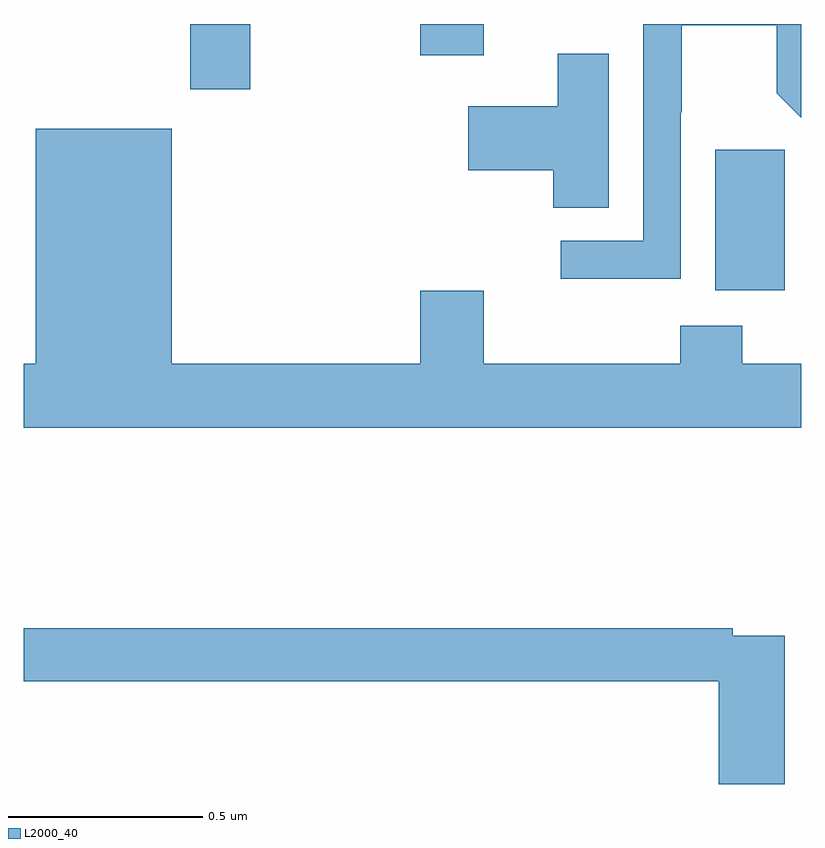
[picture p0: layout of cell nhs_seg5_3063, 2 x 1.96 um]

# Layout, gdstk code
import gdstk
lib = gdstk.Library(unit=1e-6, precision=1e-09)
def R(c, l, rs):  # rectangles x0, y0, x1, y1
    for r in rs: c.add(gdstk.rectangle(r[:2], r[2:], *l))
def P(c, l, *ps):  # polygons
    for p in ps: c.add(gdstk.Polygon(p, *l))
L2000_40 = (2000, 40)

nhs_seg5_3063 = lib.new_cell('nhs_seg5_3063')
R(nhs_seg5_3063, L2000_40, [(153.779,857.114,153.958,857.475), (152.428,857.631,152.583,857.799), (153.02,857.718,153.184,857.799)])
P(nhs_seg5_3063, L2000_40, [(153.69,857.572),(153.693,857.572),(153.693,857.796),(153.937,857.796),(153.937,857.621),(154,857.558),(154,857.799),(153.594,857.799),(153.594,857.241),(153.381,857.241),(153.381,857.143),(153.69,857.143)],
  [(153.505,857.723),(153.374,857.723),(153.374,857.587),(153.144,857.587),(153.144,857.422),(153.362,857.422),(153.362,857.326),(153.505,857.326)],
  [(154,856.924),(153.849,856.924),(153.849,857.023),(153.689,857.023),(153.689,856.924),(153.184,856.924),(153.184,857.113),(153.02,857.113),(153.02,856.924),(152.38,856.924),(152.38,857.53),(152.03,857.53),(152.03,856.924),(152,856.924),(152,856.76),(154,856.76)],
  [(153.958,856.224),(153.824,856.224),(153.824,856.244),(152,856.244),(152,856.108),(153.788,856.108),(153.788,855.843),(153.958,855.843)])

lib.write_gds('nhs_seg5_3063.gds')
